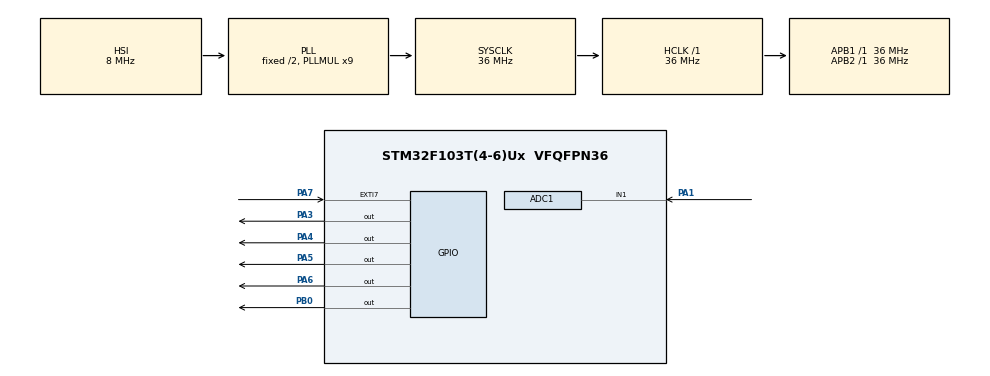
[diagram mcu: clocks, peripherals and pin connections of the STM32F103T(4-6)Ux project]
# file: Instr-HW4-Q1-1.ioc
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ADC1.Channel-0\#ChannelRegularConversion=ADC_CHANNEL_1
ADC1.NbrOfConversionFlag=1
ADC1.Rank-0\#ChannelRegularConversion=1
ADC1.SamplingTime-0\#ChannelRegularConversion=ADC_SAMPLETIME_1CYCLE_5
ADC1.master=1
Mcu.Family=STM32F1
Mcu.Name=STM32F103T(4-6)Ux
Mcu.Package=VFQFPN36
NVIC.PriorityGroup=NVIC_PRIORITYGROUP_4
PA1.Signal=ADCx_IN1
PA3.Signal=GPIO_Output
PA4.Signal=GPIO_Output
PA5.Signal=GPIO_Output
PA6.Signal=GPIO_Output
PA7.Signal=GPXTI7
PB0.Signal=GPIO_Output
ProjectManager.HeapSize=0x200
ProjectManager.StackSize=0x400
ProjectManager.TargetToolchain=STM32CubeIDE
RCC.ADCPresc=RCC_ADCPCLK2_DIV4
RCC.AHBFreq_Value=36000000
RCC.APB1Freq_Value=36000000
RCC.APB1TimFreq_Value=36000000
RCC.APB2Freq_Value=36000000
RCC.APB2TimFreq_Value=36000000
RCC.HCLKFreq_Value=36000000
RCC.PLLMUL=RCC_PLL_MUL9
RCC.SYSCLKFreq_VALUE=36000000
RCC.SYSCLKSource=RCC_SYSCLKSOURCE_PLLCLK
RCC.USBFreq_Value=36000000
SH.ADCx_IN1.0=ADC1_IN1,IN1
VP_SYS_VS_ND.Mode=No_Debug
board=custom

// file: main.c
/* USER CODE BEGIN Header */
/**
  ******************************************************************************
  * @file           : main.c
  * @brief          : Main program body
  ******************************************************************************
  * @attention
  *
  * Copyright (c) 2026 STMicroelectronics.
  * All rights reserved.
  *
  * This software is licensed under terms that can be found in the LICENSE file
  * in the root directory of this software component.
  * If no LICENSE file comes with this software, it is provided AS-IS.
  *
  ******************************************************************************
  */
/* USER CODE END Header */
#include "main.h"
#include "lcd.h"
#include <stdio.h>

ADC_HandleTypeDef hadc1;

/* USER CODE BEGIN PV */
Lcd_PortType port[] = {GPIOA, GPIOA, GPIOA, GPIOA};
Lcd_PinType pin[] = {GPIO_PIN_3, GPIO_PIN_4, GPIO_PIN_5, GPIO_PIN_6};
Lcd_PortType rsPort = GPIOA;
Lcd_PinType rsPin = GPIO_PIN_7;
Lcd_PortType ePort = GPIOB;
Lcd_PinType ePin = GPIO_PIN_0;
Lcd_HandleTypeDef lcd;

uint32_t adcValue = 0;
float sensorVoltage = 0.0;
float r_rtd = 0.0;
float temperature = 0.0;
char lcd_line1[16];
char lcd_line2[16];
/* USER CODE END PV */

void SystemClock_Config(void);
static void MX_GPIO_Init(void);
static void MX_ADC1_Init(void);

int main(void)
{

  /* MCU Configuration--------------------------------------------------------*/

  /* Reset of all peripherals, Initializes the Flash interface and the Systick. */
  HAL_Init();

  /* Configure the system clock */
  SystemClock_Config();

  /* Initialize all configured peripherals */
  MX_GPIO_Init();
  MX_ADC1_Init();
  /* USER CODE BEGIN 2 */
  lcd = Lcd_create(port, pin, rsPort, rsPin, ePort, ePin, LCD_4_BIT_MODE);
  HAL_Delay(100);
  Lcd_init(&lcd);
  /* USER CODE END 2 */

  /* Infinite loop */
  /* USER CODE BEGIN WHILE */
  while (1)
  {
    HAL_ADC_Start(&hadc1);
    if (HAL_ADC_PollForConversion(&hadc1, 100) == HAL_OK)
    {
        adcValue = HAL_ADC_GetValue(&hadc1);

        sensorVoltage = ((float)adcValue * 5.0f) / 4095.0f;
        r_rtd = sensorVoltage * 100.0f;
        temperature = (r_rtd - 99.68f) / 0.3557f;

        sprintf(lcd_line1, "V_amp: %.3f V", sensorVoltage);
        sprintf(lcd_line2, "R:%.1f T:%.1fC", r_rtd, temperature);

        Lcd_clear(&lcd);
        Lcd_cursor(&lcd, 0, 0);
        Lcd_string(&lcd, lcd_line1);
        Lcd_cursor(&lcd, 1, 0);
        Lcd_string(&lcd, lcd_line2);
    }
    HAL_ADC_Stop(&hadc1);

    HAL_Delay(500);
    /* USER CODE END WHILE */

  }
}

void SystemClock_Config(void)
{
  RCC_OscInitTypeDef RCC_OscInitStruct = {0};
  RCC_ClkInitTypeDef RCC_ClkInitStruct = {0};
  RCC_PeriphCLKInitTypeDef PeriphClkInit = {0};

  /** Initializes the RCC Oscillators according to the specified parameters
  * in the RCC_OscInitTypeDef structure.
  */
  RCC_OscInitStruct.OscillatorType = RCC_OSCILLATORTYPE_HSI;
  RCC_OscInitStruct.HSIState = RCC_HSI_ON;
  RCC_OscInitStruct.HSICalibrationValue = RCC_HSICALIBRATION_DEFAULT;
  RCC_OscInitStruct.PLL.PLLState = RCC_PLL_ON;
  RCC_OscInitStruct.PLL.PLLSource = RCC_PLLSOURCE_HSI_DIV2;
  RCC_OscInitStruct.PLL.PLLMUL = RCC_PLL_MUL9;
  if (HAL_RCC_OscConfig(&RCC_OscInitStruct) != HAL_OK)
  {
    Error_Handler();
  }

  /** Initializes the CPU, AHB and APB buses clocks
  */
  RCC_ClkInitStruct.ClockType = RCC_CLOCKTYPE_HCLK|RCC_CLOCKTYPE_SYSCLK
                              |RCC_CLOCKTYPE_PCLK1|RCC_CLOCKTYPE_PCLK2;
  RCC_ClkInitStruct.SYSCLKSource = RCC_SYSCLKSOURCE_PLLCLK;
  RCC_ClkInitStruct.AHBCLKDivider = RCC_SYSCLK_DIV1;
  RCC_ClkInitStruct.APB1CLKDivider = RCC_HCLK_DIV1;
  RCC_ClkInitStruct.APB2CLKDivider = RCC_HCLK_DIV1;

  if (HAL_RCC_ClockConfig(&RCC_ClkInitStruct, FLASH_LATENCY_1) != HAL_OK)
  {
    Error_Handler();
  }
  PeriphClkInit.PeriphClockSelection = RCC_PERIPHCLK_ADC;
  PeriphClkInit.AdcClockSelection = RCC_ADCPCLK2_DIV4;
  if (HAL_RCCEx_PeriphCLKConfig(&PeriphClkInit) != HAL_OK)
  {
    Error_Handler();
  }
}

static void MX_ADC1_Init(void)
{

  ADC_ChannelConfTypeDef sConfig = {0};

  /** Common config
  */
  hadc1.Instance = ADC1;
  hadc1.Init.ScanConvMode = ADC_SCAN_DISABLE;
  hadc1.Init.ContinuousConvMode = DISABLE;
  hadc1.Init.DiscontinuousConvMode = DISABLE;
  hadc1.Init.ExternalTrigConv = ADC_SOFTWARE_START;
  hadc1.Init.DataAlign = ADC_DATAALIGN_RIGHT;
  hadc1.Init.NbrOfConversion = 1;
  if (HAL_ADC_Init(&hadc1) != HAL_OK)
  {
    Error_Handler();
  }

  /** Configure Regular Channel
  */
  sConfig.Channel = ADC_CHANNEL_1;
  sConfig.Rank = ADC_REGULAR_RANK_1;
  sConfig.SamplingTime = ADC_SAMPLETIME_1CYCLE_5;
  if (HAL_ADC_ConfigChannel(&hadc1, &sConfig) != HAL_OK)
  {
    Error_Handler();
  }

}

static void MX_GPIO_Init(void)
{
  GPIO_InitTypeDef GPIO_InitStruct = {0};

  /* GPIO Ports Clock Enable */
  __HAL_RCC_GPIOA_CLK_ENABLE();
  __HAL_RCC_GPIOB_CLK_ENABLE();

  /*Configure GPIO pin Output Level */
  HAL_GPIO_WritePin(GPIOA, GPIO_PIN_3|GPIO_PIN_4|GPIO_PIN_5|GPIO_PIN_6
                          |GPIO_PIN_7, GPIO_PIN_RESET);

  /*Configure GPIO pin Output Level */
  HAL_GPIO_WritePin(GPIOB, GPIO_PIN_0, GPIO_PIN_RESET);

  /*Configure GPIO pins : PA3 PA4 PA5 PA6
                           PA7 */
  GPIO_InitStruct.Pin = GPIO_PIN_3|GPIO_PIN_4|GPIO_PIN_5|GPIO_PIN_6
                          |GPIO_PIN_7;
  GPIO_InitStruct.Mode = GPIO_MODE_OUTPUT_PP;
  GPIO_InitStruct.Pull = GPIO_NOPULL;
  GPIO_InitStruct.Speed = GPIO_SPEED_FREQ_LOW;
  HAL_GPIO_Init(GPIOA, &GPIO_InitStruct);

  /*Configure GPIO pin : PB0 */
  GPIO_InitStruct.Pin = GPIO_PIN_0;
  GPIO_InitStruct.Mode = GPIO_MODE_OUTPUT_PP;
  GPIO_InitStruct.Pull = GPIO_NOPULL;
  GPIO_InitStruct.Speed = GPIO_SPEED_FREQ_LOW;
  HAL_GPIO_Init(GPIOB, &GPIO_InitStruct);

}

void Error_Handler(void)
{
  __disable_irq();
  while (1)
  {
  }
}
